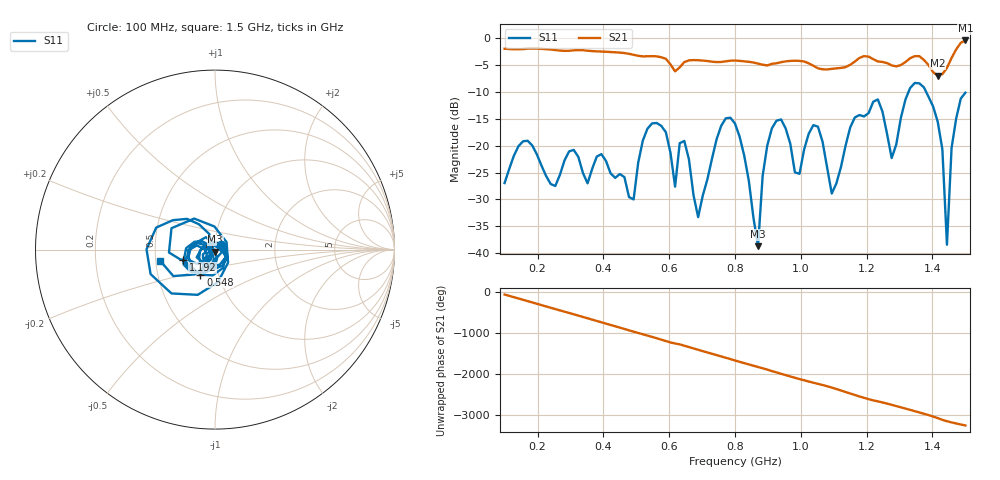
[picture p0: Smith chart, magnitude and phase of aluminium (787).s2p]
! NanoVNA-App
! Date: 2025-09-25 15:01:24
! Start: 100MHz Stop: 1,5GHz Points: 101
! S-Parameter data: F S11 S21 S12 S22
# Hz S RI R 50
!  Frequency  S11_Real  S11_Imag  S21_Real  S21_Imag  S12_Real  S12_Imag  S22_Real  S22_Imag
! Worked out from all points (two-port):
!   101 points, 100 MHz to 1.5 GHz, reference 50 ohm
!   highest |S21| = -0.38 dB at 1.5 GHz (marker M1); lowest = -6.9 dB at 1.416 GHz (marker M2)
!   |S21| within 3 dB of the highest: start of sweep to 565.2 MHz; 1.46 GHz to end of sweep (the widest 2 of 4)
!   lowest |S11| = -38.7 dB at 870 MHz (marker M3), VSWR 1.02, Z = 50 - j1.16 ohm
!   |S11| at or under -10 dB: start of sweep to 1.327 GHz; 1.381 GHz to end of sweep
!   S12 and S22 are empty: the file has one direction only
!   S11 on the Smith chart (normalised r, x): 100 MHz: 1.07, +0.06; 548 MHz: 0.82, -0.23; 1.192 GHz: 0.69, -0.08; 1.5 GHz: 0.53, -0.07
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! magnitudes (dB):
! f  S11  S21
! 100 MHz  -27.0  -1.9
! 156 MHz  -19.2  -2.0
! 338 MHz  -25.1  -2.2
! 492 MHz  -30.0  -3.1
! 548 MHz  -15.8  -3.3
! 576 MHz  -16.3  -3.5
! 618 MHz  -27.6  -6.1
! 646 MHz  -19.1  -4.4
! 688 MHz  -33.3  -4.1
! 800 MHz  -15.9  -4.1
! 870 MHz  -38.7  -4.7
! 912 MHz  -16.8  -4.7
! 996 MHz  -25.2  -4.2
! 1.038 GHz  -16.2  -5.1
! 1.094 GHz  -28.9  -5.7
! 1.192 GHz  -14.5  -3.3
! 1.276 GHz  -22.3  -5.0
! 1.346 GHz  -8.3  -3.3
! 1.416 GHz  -15.6  -6.9
! 1.444 GHz  -38.4  -5.5
! 1.458 GHz  -20.4  -3.7
! 1.5 GHz  -10.1  -0.4
